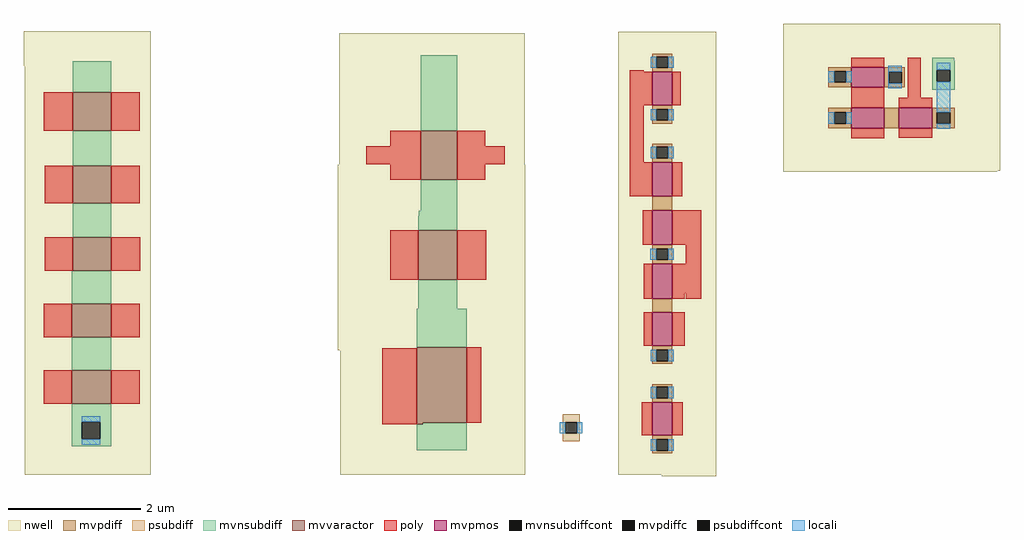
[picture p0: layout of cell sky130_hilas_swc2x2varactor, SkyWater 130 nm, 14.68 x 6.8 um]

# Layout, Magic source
magic
tech sky130A
<< nwell >>
rect 0 617 191 669
rect 1 2 191 617
rect 474 468 753 666
rect 472 189 754 468
rect 476 2 754 189
rect 894 2 1041 668
rect 1142 459 1468 680
rect 1142 458 1464 459
rect 959 0 1041 2
<< mvpmos >>
rect 945 558 975 608
rect 1244 585 1294 615
rect 1244 523 1294 554
rect 1316 523 1366 554
rect 945 421 975 472
rect 945 348 975 400
rect 945 267 975 319
rect 945 196 975 246
rect 945 61 975 111
<< mvvaractor >>
rect 73 519 131 577
rect 73 410 131 467
rect 597 446 652 519
rect 73 309 131 359
rect 593 295 652 370
rect 72 209 131 259
rect 72 109 131 159
rect 591 80 666 194
rect 591 78 600 80
<< mvpdiff >>
rect 945 631 975 635
rect 945 614 951 631
rect 969 614 975 631
rect 945 608 975 614
rect 1210 609 1244 615
rect 1210 592 1219 609
rect 1237 592 1244 609
rect 1210 585 1244 592
rect 1294 608 1325 615
rect 1294 591 1301 608
rect 1320 591 1325 608
rect 1294 585 1325 591
rect 945 552 975 558
rect 945 535 951 552
rect 969 535 975 552
rect 945 530 975 535
rect 1210 547 1244 554
rect 1210 530 1219 547
rect 1237 530 1244 547
rect 1210 523 1244 530
rect 1294 523 1316 554
rect 1366 547 1400 554
rect 1366 530 1373 547
rect 1393 530 1400 547
rect 1366 523 1400 530
rect 945 495 975 500
rect 945 478 951 495
rect 969 478 975 495
rect 945 472 975 478
rect 945 400 975 421
rect 945 342 975 348
rect 945 325 951 342
rect 969 325 975 342
rect 945 319 975 325
rect 945 246 975 267
rect 945 190 975 196
rect 945 173 951 190
rect 969 173 975 190
rect 945 169 975 173
rect 945 134 975 138
rect 945 117 951 134
rect 969 117 975 134
rect 945 111 975 117
rect 945 55 975 61
rect 945 38 951 55
rect 969 38 975 55
rect 945 34 975 38
<< mvpdiffc >>
rect 951 614 969 631
rect 1219 592 1237 609
rect 1301 591 1320 608
rect 951 535 969 552
rect 1219 530 1237 547
rect 1373 530 1393 547
rect 951 478 969 495
rect 951 325 969 342
rect 951 173 969 190
rect 951 117 969 134
rect 951 38 969 55
<< psubdiff >>
rect 810 81 836 93
rect 810 64 814 81
rect 832 64 836 81
rect 810 52 836 64
<< mvnsubdiff >>
rect 73 577 131 624
rect 597 519 652 633
rect 73 467 131 519
rect 1366 625 1399 629
rect 1366 611 1400 625
rect 1366 593 1373 611
rect 1393 593 1400 611
rect 1366 581 1400 593
rect 73 359 131 410
rect 597 399 652 446
rect 594 391 652 399
rect 593 370 652 391
rect 72 259 131 309
rect 593 252 652 295
rect 72 159 131 209
rect 591 194 666 252
rect 72 82 131 109
rect 72 55 87 82
rect 115 55 131 82
rect 600 78 666 80
rect 72 45 131 55
rect 591 39 666 78
<< psubdiffcont >>
rect 814 64 832 81
<< mvnsubdiffcont >>
rect 1373 593 1393 611
rect 87 55 115 82
<< poly >>
rect 30 519 73 577
rect 131 519 174 577
rect 1244 615 1294 629
rect 911 608 932 610
rect 911 558 945 608
rect 975 558 988 608
rect 551 496 597 519
rect 515 469 597 496
rect 31 410 73 467
rect 131 410 174 467
rect 551 446 597 469
rect 652 496 694 519
rect 652 469 723 496
rect 911 472 932 558
rect 1244 554 1294 585
rect 1329 569 1349 629
rect 1316 554 1366 569
rect 1244 508 1294 523
rect 1316 509 1366 523
rect 652 446 694 469
rect 911 421 945 472
rect 975 421 990 472
rect 31 309 73 359
rect 131 309 175 359
rect 551 295 593 370
rect 652 295 695 370
rect 931 348 945 400
rect 975 348 1019 400
rect 995 319 1019 348
rect 30 209 72 259
rect 131 209 174 259
rect 932 267 945 319
rect 975 275 1019 319
rect 975 267 994 275
rect 995 267 1019 275
rect 932 196 945 246
rect 975 196 994 246
rect 30 109 72 159
rect 131 109 174 159
rect 539 78 591 192
rect 666 80 688 194
rect 929 61 945 111
rect 975 61 991 111
<< locali >>
rect 943 614 951 631
rect 969 614 977 631
rect 1210 592 1219 609
rect 1237 592 1245 609
rect 1300 608 1320 617
rect 1300 591 1301 608
rect 1300 583 1320 591
rect 1373 611 1393 622
rect 943 535 951 552
rect 969 535 977 552
rect 1373 547 1393 593
rect 1210 530 1219 547
rect 1237 530 1245 547
rect 1373 522 1393 530
rect 943 478 951 495
rect 969 478 977 495
rect 942 325 951 342
rect 969 325 977 342
rect 943 173 951 190
rect 969 173 977 190
rect 943 117 951 134
rect 969 117 977 134
rect 87 82 115 90
rect 806 64 814 81
rect 832 64 840 81
rect 87 47 115 55
rect 943 38 951 55
rect 969 38 977 55
<< properties >>
string LEFsite unithd
string LEFclass CORE
string LEFsymmetry X Y R90
<< end >>
